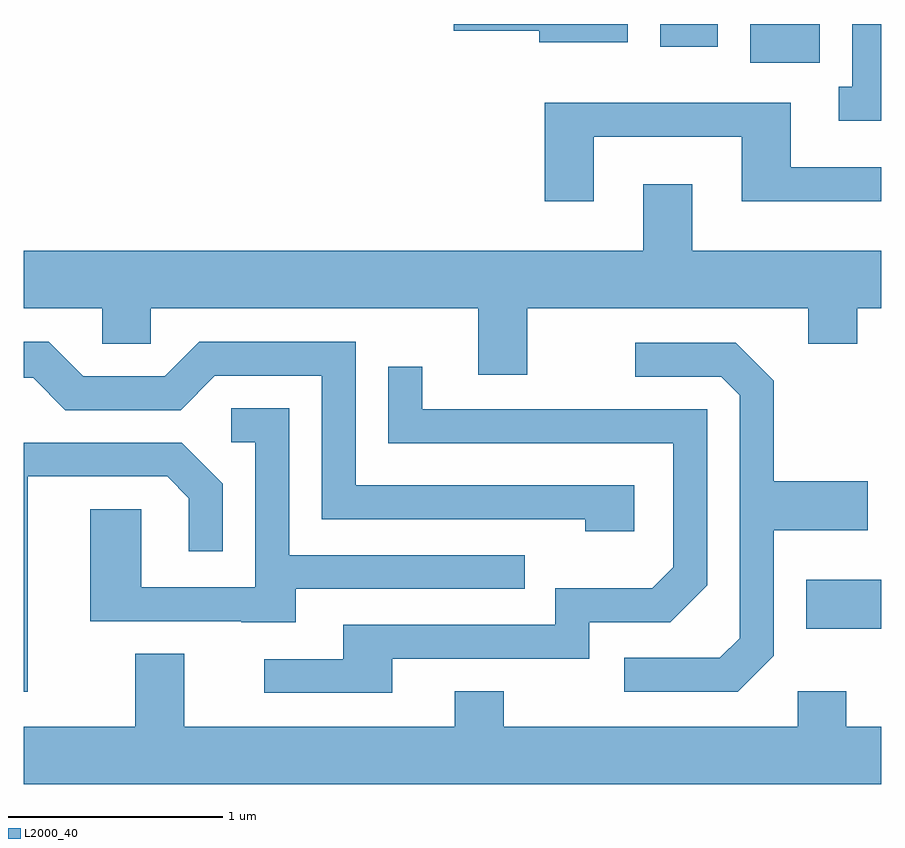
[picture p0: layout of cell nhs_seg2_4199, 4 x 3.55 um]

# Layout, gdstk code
import gdstk
lib = gdstk.Library(unit=1e-6, precision=1e-09)
def R(c, l, rs):  # rectangles x0, y0, x1, y1
    for r in rs: c.add(gdstk.rectangle(r[:2], r[2:], *l))
def P(c, l, *ps):  # polygons
    for p in ps: c.add(gdstk.Polygon(p, *l))
L2000_40 = (2000, 40)

nhs_seg2_4199 = lib.new_cell('nhs_seg2_4199')
R(nhs_seg2_4199, L2000_40, [(311.261,1108.981,311.611,1109.209), (311.001,1111.621,311.324,1111.802), (310.581,1111.696,310.849,1111.802)])
P(nhs_seg2_4199, L2000_40, [(311.611,1111.802),(311.476,1111.802),(311.476,1111.509),(311.413,1111.509),(311.413,1111.351),(311.611,1111.351)],
  [(310.429,1111.802),(309.616,1111.802),(309.616,1111.771),(310.016,1111.771),(310.016,1111.716),(310.429,1111.716)],
  [(310.269,1111.276),(310.961,1111.276),(310.961,1110.976),(311.611,1110.976),(311.611,1111.134),(311.189,1111.134),(311.189,1111.434),(310.041,1111.434),(310.041,1110.976),(310.269,1110.976)],
  [(309.959,1110.476),(311.271,1110.476),(311.271,1110.311),(311.499,1110.311),(311.499,1110.476),(311.611,1110.476),(311.611,1110.744),(310.729,1110.744),(310.729,1111.054),(310.501,1111.054),(310.501,1110.744),(307.611,1110.744),(307.611,1110.476),(307.976,1110.476),(307.976,1110.311),(308.204,1110.311),(308.204,1110.476),(309.731,1110.476),(309.731,1110.166),(309.959,1110.166)],
  [(310.459,1109.649),(309.159,1109.649),(309.159,1110.319),(308.429,1110.319),(308.269,1110.159),(307.887,1110.159),(307.727,1110.319),(307.611,1110.319),(307.611,1110.151),(307.654,1110.151),(307.804,1110.001),(308.342,1110.001),(308.502,1110.161),(309.001,1110.161),(309.001,1109.491),(310.231,1109.491),(310.231,1109.436),(310.459,1109.436)],
  [(311.109,1108.854),(311.109,1109.441),(311.549,1109.441),(311.549,1109.669),(311.109,1109.669),(311.109,1110.137),(310.932,1110.314),(310.463,1110.314),(310.463,1110.156),(310.864,1110.156),(310.951,1110.069),(310.951,1108.937),(310.859,1108.844),(310.413,1108.844),(310.413,1108.686),(310.942,1108.686)],
  [(309.329,1108.841),(310.249,1108.841),(310.249,1109.011),(310.627,1109.011),(310.799,1109.184),(310.799,1110.004),(309.469,1110.004),(309.469,1110.203),(309.311,1110.203),(309.311,1109.846),(310.641,1109.846),(310.641,1109.267),(310.544,1109.169),(310.091,1109.169),(310.091,1108.999),(309.101,1108.999),(309.101,1108.839),(308.733,1108.839),(308.733,1108.681),(309.329,1108.681)],
  [(308.879,1109.166),(309.948,1109.166),(309.948,1109.324),(308.849,1109.324),(308.849,1110.009),(308.578,1110.009),(308.578,1109.851),(308.691,1109.851),(308.691,1109.174),(308.159,1109.174),(308.159,1109.539),(307.921,1109.539),(307.921,1109.016),(308.625,1109.016),(308.625,1109.011),(308.879,1109.011)],
  [(307.629,1109.691),(308.279,1109.691),(308.381,1109.589),(308.381,1109.343),(308.539,1109.343),(308.539,1109.657),(308.347,1109.849),(307.611,1109.849),(307.611,1108.686),(307.629,1108.686)],
  [(311.611,1108.524),(311.449,1108.524),(311.449,1108.689),(311.221,1108.689),(311.221,1108.524),(309.849,1108.524),(309.849,1108.689),(309.621,1108.689),(309.621,1108.524),(308.359,1108.524),(308.359,1108.864),(308.131,1108.864),(308.131,1108.524),(307.611,1108.524),(307.611,1108.256),(311.611,1108.256)])

lib.write_gds('nhs_seg2_4199.gds')
